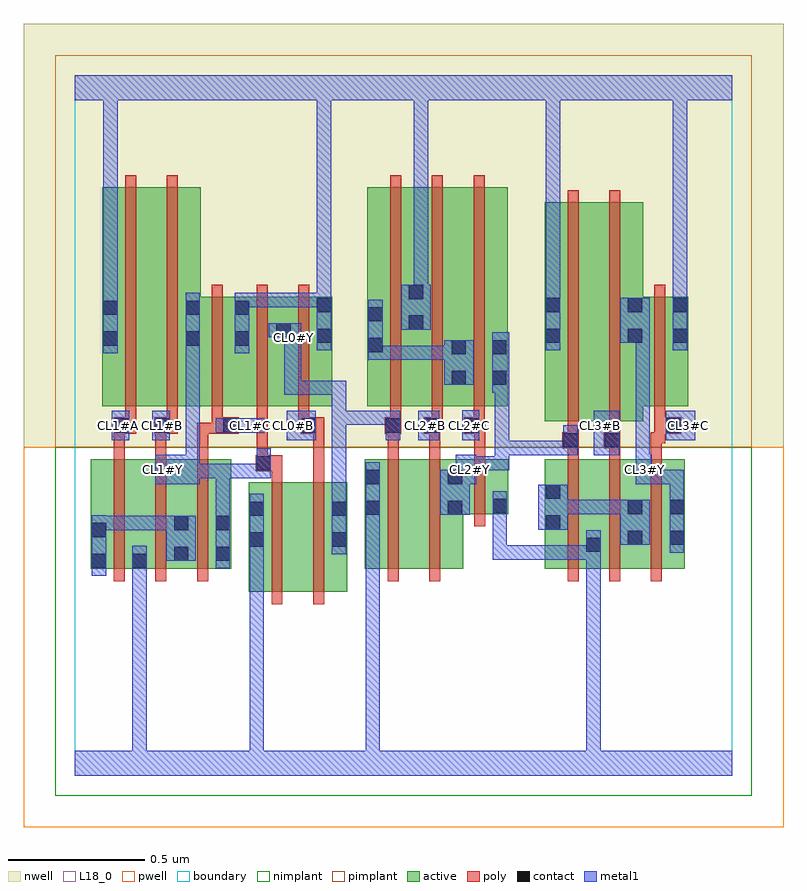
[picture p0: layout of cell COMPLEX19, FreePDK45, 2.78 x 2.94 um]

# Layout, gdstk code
import gdstk
lib = gdstk.Library(unit=1e-6, precision=1e-09)
def R(c, l, rs):  # rectangles x0, y0, x1, y1
    for r in rs: c.add(gdstk.rectangle(r[:2], r[2:], *l))
def A(c, l, x, y, w, h, nx, ny, dx, dy):  # array of equal rectangles
    R(c, l, [(x+i*dx, y+j*dy, x+i*dx+w, y+j*dy+h) for i in range(nx) for j in range(ny)])
active = (1, 0)
pwell = (2, 0)
nwell = (3, 0)
nimplant = (4, 0)
pimplant = (5, 0)
poly = (9, 0)
contact = (10, 0)
metal1 = (11, 0)
L18_0 = (18, 0)
boundary = (235, 0)

complex19 = lib.new_cell('COMPLEX19')
A(complex19, active, 1.864, 0.756, 0.06, 0.4, 3, 1, 0.152, 0)
R(complex19, active, [(0.634,0.672,0.694,1.072), (0.634,0.672,0.814,1.072), (0.814,0.672,0.994,1.072), (0.934,0.672,0.994,1.072), (0.058,0.756,0.118,1.156), (0.058,0.756,0.266,1.156), (0.206,0.756,0.418,1.156), (0.206,0.756,0.266,0.816), (0.358,0.756,0.57,1.156), (0.358,0.756,0.418,0.954), (0.51,0.756,0.57,1.156), (1.058,0.756,1.118,1.156), (1.058,0.756,1.238,1.156), (1.238,0.756,1.418,1.156), (1.358,0.756,1.418,1.156), (1.716,0.756,1.776,1.156), (1.716,0.756,1.924,1.156), (1.864,0.756,2.076,1.156), (2.016,0.756,2.228,1.156), (1.358,0.956,1.582,1.156), (1.522,0.956,1.582,1.156), (1.716,1.296,1.896,2.096), (1.716,1.296,1.776,2.044), (1.896,1.296,2.076,2.096), (0.1,1.35,0.28,2.15), (0.1,1.35,0.16,2.044), (0.28,1.35,0.46,2.15), (0.4,1.35,0.46,2.15), (0.4,1.35,0.64,1.75), (0.58,1.35,0.64,1.75), (0.58,1.35,0.792,1.75), (0.732,1.35,0.792,1.75), (0.732,1.35,0.94,1.75), (0.88,1.35,0.94,1.75), (1.068,1.35,1.276,2.15), (1.068,1.35,1.128,2.15), (1.216,1.35,1.276,2.15), (1.216,1.35,1.432,2.15), (1.372,1.35,1.58,2.15), (1.372,1.35,1.432,2.15), (1.52,1.35,1.58,2.044), (2.016,1.35,2.076,1.75), (2.016,1.35,2.24,1.75), (2.18,1.35,2.24,1.75)])
R(complex19, pwell, [(-0.188,-0.188,2.588,1.2)])
R(complex19, nwell, [(-0.188,1.2,2.588,2.748)])
R(complex19, nimplant, [(-0.072,-0.072,2.472,1.2)])
R(complex19, pimplant, [(-0.072,1.2,2.472,2.632)])
A(complex19, poly, 0.142, 0.712, 0.04, 0.488, 3, 1, 0.152, 0)
A(complex19, poly, 1.8, 0.712, 0.04, 0.488, 3, 1, 0.152, 0)
A(complex19, poly, 0.142, 1.16, 0.04, 0.13, 3, 1, 0.152, 0)
A(complex19, poly, 1.152, 1.27, 0.04, 0.076, 3, 1, 0.152, 0)
A(complex19, poly, 1.152, 1.306, 0.04, 0.888, 3, 1, 0.152, 0)
R(complex19, poly, [(0.718,0.628,0.758,1.116), (0.87,0.628,0.91,1.116), (1.142,0.712,1.182,1.2), (1.294,0.712,1.334,1.2), (1.458,0.912,1.498,1.2), (0.718,1.076,0.758,1.152), (0.87,1.076,0.91,1.29), (0.66,1.112,0.758,1.172), (0.664,1.132,0.704,1.172), (0.664,1.132,0.704,1.172), (0.664,1.132,0.704,1.346), (1.142,1.16,1.182,1.29), (1.294,1.16,1.334,1.29), (1.458,1.16,1.498,1.29), (1.8,1.16,1.84,1.236), (1.952,1.16,1.992,1.236), (2.104,1.16,2.144,1.256), (1.78,1.196,1.84,1.256), (1.932,1.196,1.992,1.256), (1.8,1.216,1.84,1.292), (1.8,1.216,1.84,1.256), (1.8,1.216,1.84,1.256), (1.952,1.216,1.992,1.292), (1.952,1.216,1.992,1.256), (1.952,1.216,1.992,1.256), (2.104,1.216,2.156,1.256), (2.116,1.216,2.156,1.29), (0.142,1.25,0.182,1.29), (0.142,1.25,0.182,1.29), (0.142,1.25,0.224,1.31), (0.29,1.25,0.376,1.31), (0.294,1.25,0.334,1.29), (0.294,1.25,0.334,1.29), (0.446,1.25,0.54,1.29), (0.5,1.25,0.598,1.31), (0.5,1.25,0.54,1.29), (0.824,1.25,0.91,1.31), (1.132,1.25,1.192,1.31), (1.142,1.25,1.182,1.29), (1.142,1.25,1.182,1.29), (1.274,1.25,1.334,1.31), (1.42,1.25,1.496,1.31), (1.456,1.25,1.496,1.29), (1.456,1.25,1.498,1.29), (2.116,1.25,2.214,1.31), (1.8,1.252,1.84,2.14), (1.952,1.252,1.992,2.14), (0.184,1.27,0.224,1.346), (0.336,1.27,0.376,1.346), (0.5,1.27,0.54,1.346), (0.816,1.27,0.856,1.346), (0.816,1.27,0.864,1.31), (0.824,1.27,0.864,1.31), (1.294,1.27,1.334,1.31), (1.294,1.27,1.344,1.31), (2.116,1.27,2.156,1.346), (0.184,1.306,0.224,2.194), (0.336,1.306,0.376,2.194), (0.5,1.306,0.54,1.794), (0.664,1.306,0.704,1.794), (0.816,1.306,0.856,1.794), (2.116,1.306,2.156,1.794)])
R(complex19, contact, [(0.062,0.76,0.114,0.812), (0.21,0.76,0.262,0.812), (0.362,0.786,0.414,0.838), (0.514,0.786,0.566,0.838), (1.868,0.818,1.92,0.87), (0.638,0.838,0.69,0.89), (0.938,0.838,0.99,0.89), (2.02,0.844,2.072,0.896), (2.172,0.844,2.224,0.896), (0.062,0.872,0.114,0.924), (0.362,0.898,0.414,0.95), (0.514,0.898,0.566,0.95), (1.72,0.9,1.772,0.952), (0.638,0.95,0.69,1.002), (0.938,0.95,0.99,1.002), (1.062,0.954,1.114,1.006), (1.362,0.954,1.414,1.006), (2.02,0.956,2.072,1.008), (2.172,0.956,2.224,1.008), (1.526,0.96,1.578,1.012), (1.72,1.012,1.772,1.064), (1.062,1.066,1.114,1.118), (1.362,1.066,1.414,1.118), (0.664,1.116,0.716,1.168), (1.784,1.2,1.836,1.252), (1.936,1.2,1.988,1.252), (0.146,1.254,0.198,1.306), (0.294,1.254,0.346,1.306), (0.542,1.254,0.594,1.306), (0.828,1.254,0.88,1.306), (1.136,1.254,1.188,1.306), (1.278,1.254,1.33,1.306), (1.424,1.254,1.476,1.306), (2.158,1.254,2.21,1.306), (1.376,1.428,1.428,1.48), (1.524,1.428,1.576,1.48), (1.376,1.54,1.428,1.592), (1.524,1.54,1.576,1.592), (1.072,1.548,1.124,1.6), (0.104,1.572,0.156,1.624), (0.404,1.572,0.456,1.624), (0.584,1.572,0.636,1.624), (0.884,1.582,0.936,1.634), (1.72,1.582,1.772,1.634), (2.02,1.582,2.072,1.634), (2.184,1.582,2.236,1.634), (0.736,1.602,0.788,1.654), (1.22,1.63,1.272,1.682), (1.072,1.66,1.124,1.712), (0.104,1.684,0.156,1.736), (0.404,1.684,0.456,1.736), (0.584,1.684,0.636,1.736), (0.884,1.694,0.936,1.746), (1.72,1.694,1.772,1.746), (2.02,1.694,2.072,1.746), (2.184,1.694,2.236,1.746), (1.22,1.742,1.272,1.794)])
R(complex19, metal1, [(0,0,2.4,0.092), (0.21,0.04,0.262,0.092), (0.21,0.04,0.262,0.092), (0.21,0.04,0.262,0.092), (0.21,0.04,0.262,0.092), (0.21,0.04,0.262,0.784), (0.638,0.04,0.69,0.092), (0.638,0.04,0.69,0.092), (0.638,0.04,0.69,0.092), (0.638,0.04,0.69,0.092), (0.638,0.04,0.69,0.092), (0.638,0.04,0.69,0.092), (0.638,0.04,0.69,0.092), (0.638,0.04,0.69,0.092), (0.638,0.04,0.69,0.092), (0.638,0.04,0.69,0.092), (0.638,0.04,0.69,0.862), (1.062,0.04,1.114,0.092), (1.062,0.04,1.114,0.092), (1.062,0.04,1.114,0.092), (1.062,0.04,1.114,0.092), (1.062,0.04,1.114,0.092), (1.062,0.04,1.114,0.092), (1.062,0.04,1.114,0.092), (1.062,0.04,1.114,0.092), (1.062,0.04,1.114,0.978), (1.868,0.04,1.92,0.092), (1.868,0.04,1.92,0.092), (1.868,0.04,1.92,0.092), (1.868,0.04,1.92,0.092), (1.868,0.04,1.92,0.092), (1.868,0.04,1.92,0.092), (1.868,0.04,1.92,0.842), (0.062,0.732,0.114,0.952), (0.21,0.732,0.262,0.784), (0.21,0.732,0.262,0.784), (0.21,0.732,0.262,0.784), (0.21,0.732,0.262,0.784), (0.21,0.732,0.262,0.784), (0.21,0.732,0.262,0.784), (0.21,0.732,0.262,0.784), (0.21,0.732,0.262,0.784), (0.21,0.732,0.262,0.84), (0.514,0.758,0.566,0.978), (0.334,0.786,0.442,0.95), (1.526,0.79,1.578,0.842), (1.526,0.79,1.578,0.842), (1.526,0.79,1.578,0.842), (1.526,0.79,1.696,0.842), (1.526,0.79,1.578,0.984), (1.644,0.79,1.696,0.842), (1.644,0.79,1.696,0.842), (1.644,0.79,1.696,0.842), (1.644,0.79,1.92,0.842), (1.868,0.79,1.92,0.842), (1.868,0.79,1.92,0.842), (1.868,0.79,1.92,0.842), (1.868,0.79,1.92,0.842), (1.868,0.79,1.92,0.842), (1.868,0.79,1.92,0.842), (1.868,0.79,1.92,0.898), (0.638,0.81,0.69,0.862), (0.638,0.81,0.69,0.862), (0.638,0.81,0.69,1.03), (0.938,0.81,0.99,1.03), (2.172,0.816,2.224,1.036), (1.992,0.844,2.1,1.008), (0.062,0.898,0.114,0.95), (0.062,0.898,0.114,0.95), (0.062,0.898,0.236,0.95), (0.184,0.898,0.236,0.95), (0.184,0.898,0.236,0.95), (0.184,0.898,0.236,0.95), (0.184,0.898,0.386,0.95), (1.692,0.9,1.8,1.064), (0.514,0.926,0.566,1.14), (1.062,0.926,1.114,0.978), (1.062,0.926,1.114,0.978), (1.062,0.926,1.114,0.978), (1.062,0.926,1.114,0.978), (1.062,0.926,1.114,1.146), (1.526,0.932,1.578,1.04), (1.334,0.954,1.442,1.118), (1.748,0.956,1.8,1.008), (1.748,0.956,1.8,1.008), (1.748,0.956,1.934,1.008), (1.882,0.956,1.934,1.008), (1.882,0.956,1.934,1.008), (1.882,0.956,1.934,1.008), (1.882,0.956,2.044,1.008), (0.938,0.978,0.99,1.334), (2.172,0.984,2.224,1.118), (0.294,1.066,0.456,1.174), (1.39,1.066,1.442,1.118), (1.39,1.066,1.466,1.174), (2.048,1.066,2.106,1.174), (2.054,1.066,2.224,1.118), (2.172,1.066,2.224,1.118), (2.172,1.066,2.224,1.118), (2.172,1.066,2.224,1.118), (0.404,1.088,0.456,1.14), (0.404,1.088,0.456,1.14), (0.404,1.088,0.566,1.14), (0.514,1.088,0.566,1.14), (0.514,1.088,0.566,1.14), (0.514,1.088,0.566,1.14), (0.514,1.088,0.716,1.14), (0.664,1.088,0.716,1.196), (1.414,1.116,1.466,1.168), (1.414,1.116,1.466,1.168), (1.414,1.116,1.586,1.168), (1.534,1.116,1.586,1.224), (0.404,1.122,0.456,1.174), (0.404,1.122,0.456,1.174), (0.404,1.122,0.456,1.596), (2.048,1.122,2.1,1.174), (2.048,1.122,2.1,1.174), (2.048,1.122,2.1,1.634), (1.534,1.172,1.586,1.224), (1.534,1.172,1.586,1.224), (1.534,1.172,1.836,1.224), (1.534,1.172,1.586,1.452), (1.784,1.172,1.836,1.28), (1.894,1.172,1.988,1.334), (0.134,1.226,0.198,1.334), (0.282,1.226,0.346,1.334), (0.774,1.226,0.88,1.334), (1.136,1.226,1.188,1.334), (1.254,1.226,1.33,1.334), (1.414,1.226,1.476,1.336), (2.158,1.226,2.266,1.334), (0.514,1.254,0.694,1.306), (0.938,1.282,0.99,1.334), (0.938,1.282,0.99,1.334), (0.938,1.282,0.99,1.334), (0.938,1.282,0.99,1.334), (0.938,1.282,1.188,1.334), (0.938,1.282,0.99,1.444), (0.764,1.392,0.826,1.654), (0.774,1.392,0.826,1.444), (0.774,1.392,0.826,1.444), (0.774,1.392,0.99,1.444), (1.524,1.4,1.586,1.62), (1.534,1.4,1.586,1.452), (1.534,1.4,1.586,1.452), (1.348,1.428,1.456,1.592), (1.072,1.52,1.124,1.572), (1.072,1.52,1.124,1.572), (1.072,1.52,1.124,1.74), (1.072,1.52,1.276,1.572), (1.224,1.52,1.276,1.572), (1.224,1.52,1.276,1.572), (1.224,1.52,1.276,1.572), (1.224,1.52,1.4,1.572), (0.104,1.544,0.156,1.764), (0.404,1.544,0.456,1.764), (0.584,1.544,0.636,1.764), (0.884,1.554,0.936,1.774), (1.72,1.554,1.772,1.774), (2.184,1.554,2.236,1.774), (1.992,1.582,2.1,1.746), (0.708,1.602,0.816,1.654), (0.764,1.602,0.816,1.654), (1.192,1.63,1.3,1.794), (0.104,1.712,0.156,1.764), (0.104,1.712,0.156,1.764), (0.104,1.712,0.156,1.764), (0.104,1.712,0.156,1.764), (0.104,1.712,0.156,1.764), (0.104,1.712,0.156,1.764), (0.104,1.712,0.156,1.764), (0.104,1.712,0.156,1.764), (0.104,1.712,0.156,2.52), (0.584,1.712,0.676,1.764), (0.624,1.712,0.676,1.764), (0.624,1.712,0.826,1.764), (0.774,1.712,0.826,1.764), (0.774,1.712,0.826,1.764), (0.774,1.712,0.826,1.764), (0.774,1.712,0.936,1.764), (0.884,1.722,0.936,2.52), (1.72,1.722,1.772,2.52), (1.72,1.722,1.772,1.774), (1.72,1.722,1.772,1.774), (2.184,1.722,2.236,2.52), (2.184,1.722,2.236,1.774), (2.184,1.722,2.236,1.774), (2.184,1.722,2.236,1.774), (2.184,1.722,2.236,1.774), (2.184,1.722,2.236,1.774), (2.184,1.722,2.236,1.774), (2.184,1.722,2.236,1.774), (2.184,1.722,2.236,1.774), (2.184,1.722,2.236,1.774), (2.184,1.722,2.236,1.774), (2.184,1.722,2.236,1.774), (2.184,1.722,2.236,1.774), (2.184,1.722,2.236,1.774), (2.184,1.722,2.236,1.774), (1.238,1.742,1.29,1.794), (1.238,1.742,1.29,1.794), (1.238,1.742,1.29,2.52), (0,2.468,2.4,2.56), (0.884,2.468,0.936,2.52), (0.884,2.468,0.936,2.52), (0.884,2.468,0.936,2.52), (0.884,2.468,0.936,2.52), (0.884,2.468,0.936,2.52), (0.884,2.468,0.936,2.52), (0.884,2.468,0.936,2.52), (0.884,2.468,0.936,2.52), (0.884,2.468,0.936,2.52), (0.884,2.468,0.936,2.52), (0.884,2.468,0.936,2.52), (0.884,2.468,0.936,2.52), (0.884,2.468,0.936,2.52), (0.884,2.468,0.936,2.52), (0.884,2.468,0.936,2.52), (0.884,2.468,0.936,2.52), (1.238,2.468,1.29,2.52), (1.238,2.468,1.29,2.52), (1.238,2.468,1.29,2.52), (1.238,2.468,1.29,2.52), (1.238,2.468,1.29,2.52), (1.238,2.468,1.29,2.52), (1.72,2.468,1.772,2.52), (1.72,2.468,1.772,2.52), (1.72,2.468,1.772,2.52), (1.72,2.468,1.772,2.52), (1.72,2.468,1.772,2.52), (1.72,2.468,1.772,2.52), (2.184,2.468,2.236,2.52), (2.184,2.468,2.236,2.52)])
R(complex19, L18_0, [(0,0,2.4,0.092), (0.21,0.04,0.262,0.092), (0.21,0.04,0.262,0.092), (0.21,0.04,0.262,0.092), (0.21,0.04,0.262,0.092), (0.21,0.04,0.262,0.784), (0.638,0.04,0.69,0.092), (0.638,0.04,0.69,0.092), (0.638,0.04,0.69,0.092), (0.638,0.04,0.69,0.092), (0.638,0.04,0.69,0.092), (0.638,0.04,0.69,0.092), (0.638,0.04,0.69,0.092), (0.638,0.04,0.69,0.092), (0.638,0.04,0.69,0.092), (0.638,0.04,0.69,0.092), (0.638,0.04,0.69,0.862), (1.062,0.04,1.114,0.092), (1.062,0.04,1.114,0.092), (1.062,0.04,1.114,0.092), (1.062,0.04,1.114,0.092), (1.062,0.04,1.114,0.092), (1.062,0.04,1.114,0.092), (1.062,0.04,1.114,0.092), (1.062,0.04,1.114,0.092), (1.062,0.04,1.114,0.978), (1.868,0.04,1.92,0.092), (1.868,0.04,1.92,0.092), (1.868,0.04,1.92,0.092), (1.868,0.04,1.92,0.092), (1.868,0.04,1.92,0.092), (1.868,0.04,1.92,0.092), (1.868,0.04,1.92,0.842), (0.21,0.732,0.262,0.784), (0.21,0.732,0.262,0.784), (0.21,0.732,0.262,0.784), (0.21,0.732,0.262,0.784), (0.21,0.732,0.262,0.784), (0.21,0.732,0.262,0.784), (0.21,0.732,0.262,0.784), (0.21,0.732,0.262,0.784), (0.21,0.732,0.262,0.84), (0.514,0.758,0.566,0.978), (1.526,0.79,1.578,0.842), (1.526,0.79,1.578,0.842), (1.526,0.79,1.578,0.842), (1.526,0.79,1.578,0.984), (1.526,0.79,1.696,0.842), (1.644,0.79,1.696,0.842), (1.644,0.79,1.696,0.842), (1.644,0.79,1.696,0.842), (1.644,0.79,1.92,0.842), (1.868,0.79,1.92,0.842), (1.868,0.79,1.92,0.842), (1.868,0.79,1.92,0.842), (1.868,0.79,1.92,0.842), (1.868,0.79,1.92,0.842), (1.868,0.79,1.92,0.842), (1.868,0.79,1.92,0.898), (0.638,0.81,0.69,1.03), (0.638,0.81,0.69,0.862), (0.638,0.81,0.69,0.862), (0.938,0.81,0.99,1.03), (2.172,0.816,2.224,1.036), (0.514,0.926,0.566,1.14), (1.062,0.926,1.114,1.146), (1.062,0.926,1.114,0.978), (1.062,0.926,1.114,0.978), (1.062,0.926,1.114,0.978), (1.062,0.926,1.114,0.978), (1.526,0.932,1.578,1.04), (1.334,0.954,1.442,1.118), (0.938,0.978,0.99,1.334), (2.172,0.984,2.224,1.118), (0.294,1.066,0.456,1.174), (1.39,1.066,1.442,1.118), (1.39,1.066,1.466,1.174), (2.048,1.066,2.106,1.174), (2.054,1.066,2.224,1.118), (2.172,1.066,2.224,1.118), (2.172,1.066,2.224,1.118), (2.172,1.066,2.224,1.118), (0.404,1.088,0.456,1.14), (0.404,1.088,0.456,1.14), (0.404,1.088,0.566,1.14), (0.514,1.088,0.566,1.14), (0.514,1.088,0.566,1.14), (0.514,1.088,0.566,1.14), (0.514,1.088,0.716,1.14), (0.664,1.088,0.716,1.196), (0.294,1.094,0.346,1.146), (1.414,1.094,1.466,1.146), (2.054,1.094,2.106,1.146), (1.414,1.116,1.466,1.168), (1.414,1.116,1.466,1.168), (1.414,1.116,1.586,1.168), (1.534,1.116,1.586,1.224), (0.404,1.122,0.456,1.174), (0.404,1.122,0.456,1.174), (0.404,1.122,0.456,1.596), (2.048,1.122,2.1,1.174), (2.048,1.122,2.1,1.174), (2.048,1.122,2.1,1.634), (1.534,1.172,1.586,1.224), (1.534,1.172,1.586,1.224), (1.534,1.172,1.586,1.452), (1.534,1.172,1.836,1.224), (1.784,1.172,1.836,1.28), (1.894,1.172,1.988,1.334), (0.134,1.226,0.198,1.334), (0.282,1.226,0.346,1.334), (0.774,1.226,0.88,1.334), (1.136,1.226,1.188,1.334), (1.254,1.226,1.33,1.334), (1.414,1.226,1.476,1.336), (2.158,1.226,2.266,1.334), (0.134,1.254,0.186,1.306), (0.294,1.254,0.346,1.306), (0.514,1.254,0.694,1.306), (0.614,1.254,0.666,1.306), (0.774,1.254,0.826,1.306), (1.254,1.254,1.306,1.306), (1.414,1.254,1.466,1.306), (1.894,1.254,1.946,1.306), (2.214,1.254,2.266,1.306), (0.938,1.282,0.99,1.334), (0.938,1.282,0.99,1.334), (0.938,1.282,0.99,1.334), (0.938,1.282,0.99,1.334), (0.938,1.282,0.99,1.444), (0.938,1.282,1.188,1.334), (0.764,1.392,0.826,1.654), (0.774,1.392,0.826,1.444), (0.774,1.392,0.826,1.444), (0.774,1.392,0.99,1.444), (1.524,1.4,1.586,1.62), (1.534,1.4,1.586,1.452), (1.534,1.4,1.586,1.452), (0.104,1.544,0.156,1.764), (0.404,1.544,0.456,1.764), (0.584,1.544,0.636,1.764), (0.884,1.554,0.936,1.774), (1.72,1.554,1.772,1.774), (2.184,1.554,2.236,1.774), (0.774,1.574,0.826,1.626), (1.992,1.582,2.1,1.746), (0.708,1.602,0.816,1.654), (0.764,1.602,0.816,1.654), (1.192,1.63,1.3,1.794), (0.104,1.712,0.156,1.764), (0.104,1.712,0.156,1.764), (0.104,1.712,0.156,1.764), (0.104,1.712,0.156,1.764), (0.104,1.712,0.156,1.764), (0.104,1.712,0.156,1.764), (0.104,1.712,0.156,1.764), (0.104,1.712,0.156,1.764), (0.104,1.712,0.156,2.52), (0.584,1.712,0.676,1.764), (0.624,1.712,0.676,1.764), (0.624,1.712,0.826,1.764), (0.774,1.712,0.826,1.764), (0.774,1.712,0.826,1.764), (0.774,1.712,0.826,1.764), (0.774,1.712,0.936,1.764), (0.884,1.722,0.936,2.52), (1.72,1.722,1.772,1.774), (1.72,1.722,1.772,1.774), (1.72,1.722,1.772,2.52), (2.184,1.722,2.236,1.774), (2.184,1.722,2.236,1.774), (2.184,1.722,2.236,1.774), (2.184,1.722,2.236,1.774), (2.184,1.722,2.236,1.774), (2.184,1.722,2.236,1.774), (2.184,1.722,2.236,1.774), (2.184,1.722,2.236,1.774), (2.184,1.722,2.236,1.774), (2.184,1.722,2.236,1.774), (2.184,1.722,2.236,1.774), (2.184,1.722,2.236,1.774), (2.184,1.722,2.236,1.774), (2.184,1.722,2.236,1.774), (2.184,1.722,2.236,2.52), (1.238,1.742,1.29,1.794), (1.238,1.742,1.29,1.794), (1.238,1.742,1.29,2.52), (0,2.468,2.4,2.56), (0.884,2.468,0.936,2.52), (0.884,2.468,0.936,2.52), (0.884,2.468,0.936,2.52), (0.884,2.468,0.936,2.52), (0.884,2.468,0.936,2.52), (0.884,2.468,0.936,2.52), (0.884,2.468,0.936,2.52), (0.884,2.468,0.936,2.52), (0.884,2.468,0.936,2.52), (0.884,2.468,0.936,2.52), (0.884,2.468,0.936,2.52), (0.884,2.468,0.936,2.52), (0.884,2.468,0.936,2.52), (0.884,2.468,0.936,2.52), (0.884,2.468,0.936,2.52), (0.884,2.468,0.936,2.52), (1.238,2.468,1.29,2.52), (1.238,2.468,1.29,2.52), (1.238,2.468,1.29,2.52), (1.238,2.468,1.29,2.52), (1.238,2.468,1.29,2.52), (1.238,2.468,1.29,2.52), (1.72,2.468,1.772,2.52), (1.72,2.468,1.772,2.52), (1.72,2.468,1.772,2.52), (1.72,2.468,1.772,2.52), (1.72,2.468,1.772,2.52), (1.72,2.468,1.772,2.52), (2.184,2.468,2.236,2.52), (2.184,2.468,2.236,2.52)])
R(complex19, boundary, [(0,0,2.4,2.56)])
complex19.add(gdstk.Label('CL0#B', (0.8,1.28), layer=11, texttype=0))
complex19.add(gdstk.Label('CL0#Y', (0.8,1.6), layer=11, texttype=0))
complex19.add(gdstk.Label('CL1#A', (0.16,1.28), layer=11, texttype=0))
complex19.add(gdstk.Label('CL1#B', (0.32,1.28), layer=11, texttype=0))
complex19.add(gdstk.Label('CL1#C', (0.64,1.28), layer=11, texttype=0))
complex19.add(gdstk.Label('CL1#Y', (0.32,1.12), layer=11, texttype=0))
complex19.add(gdstk.Label('CL2#B', (1.28,1.28), layer=11, texttype=0))
complex19.add(gdstk.Label('CL2#C', (1.44,1.28), layer=11, texttype=0))
complex19.add(gdstk.Label('CL2#Y', (1.44,1.12), layer=11, texttype=0))
complex19.add(gdstk.Label('CL3#B', (1.92,1.28), layer=11, texttype=0))
complex19.add(gdstk.Label('CL3#C', (2.24,1.28), layer=11, texttype=0))
complex19.add(gdstk.Label('CL3#Y', (2.08,1.12), layer=11, texttype=0))

lib.write_gds('COMPLEX19.gds')
